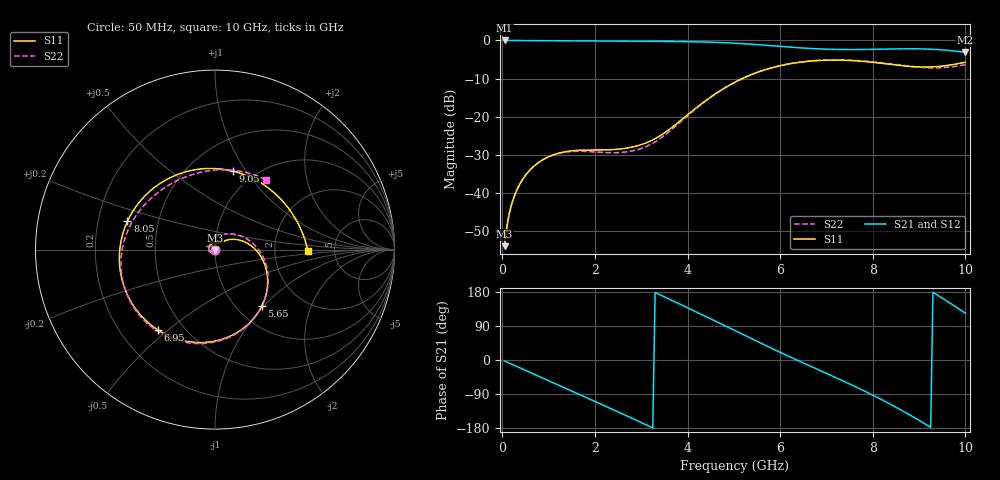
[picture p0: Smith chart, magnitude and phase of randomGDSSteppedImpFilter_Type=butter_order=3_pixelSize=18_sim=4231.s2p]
! freq	dB(S11)	phase(S11)	dB(S12)	phase(S12)
!  dB(S21)	phase(S21)	dB(S22)	phase(S22)
!S-par simulation data
#  GHz  S  DB  R 50
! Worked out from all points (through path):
!   200 points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, 50 MHz to 10 GHz, reference 50 ohm
!   highest |S21| = 0.00 dB at 50 MHz (marker M1); lowest = -3.1 dB at 10 GHz (marker M2)
!   group delay of S21, straight-line fit = 162 ps
!   lowest |S11| = -53.9 dB at 50 MHz (marker M3), VSWR 1.00, Z = 50 - j0.2 ohm
!   |S11| at or under -10 dB: start of sweep to 5.179 GHz
!   |S22| runs from -53.8 to -5.1 dB; largest |S21 - S12| = 0
!   S11 on the Smith chart (normalised r, x): 50 MHz: 1.00, -0.00; 5.65 GHz: 1.29, -0.98; 6.95 GHz: 0.36, -0.46; 8.05 GHz: 0.33, +0.14; 9.05 GHz: 0.80, +0.87; 10 GHz: 3.15, -0.08
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0.05  -53.90 -81.0  -0.00 -2.8  -0.00 -2.8  -53.78 -83.2
0.1  -48.68 -88.7  -0.01 -5.5  -0.01 -5.5  -48.53 -87.0
0.2  -42.98 -99.5  -0.02 -11.0  -0.02 -11.0  -42.98 -95.3
0.55  -34.58 -126.2  -0.05 -30.0  -0.05 -30.0  -34.56 -114.3
1.2  -29.59 -172.3  -0.08 -65.5  -0.08 -65.5  -29.66 -142.3
1.75  -28.73 145.3  -0.12 -95.6  -0.12 -95.6  -29.05 -162.3
2.2  -28.69 108.6  -0.15 -120.4  -0.15 -120.4  -29.36 -176.2
2.65  -28.27 76.0  -0.18 -145.4  -0.18 -145.4  -29.24 166.1
3.4  -25.03 47.9  -0.25 172.4  -0.25 172.4  -25.78 108.8
3.85  -20.98 37.3  -0.30 146.6  -0.30 146.6  -21.33 69.2
4.3  -16.60 20.8  -0.40 120.3  -0.40 120.3  -16.74 35.2
5.05  -10.76 -16.8  -0.74 75.7  -0.74 75.7  -10.80 -14.0
5.65  -7.77 -50.5  -1.22 40.4  -1.22 40.4  -7.77 -50.1
6.15  -6.24 -79.1  -1.69 11.7  -1.69 11.7  -6.22 -78.3
6.7  -5.37 -110.8  -2.13 -18.8  -2.13 -18.8  -5.32 -107.6
6.95  -5.20 -125.6  -2.27 -32.6  -2.27 -32.6  -5.13 -120.5
7.55  -5.29 -162.9  -2.40 -66.2  -2.40 -66.2  -5.16 -151.1
8.05  -5.80 162.0  -2.32 -95.8  -2.32 -95.8  -5.64 -176.7
8.35  -6.23 138.5  -2.24 -114.7  -2.24 -114.7  -6.08 167.5
9.05  -6.96 77.2  -2.21 -162.8  -2.21 -162.8  -7.07 127.7
9.5  -6.71 37.7  -2.47 163.3  -2.47 163.3  -7.14 96.5
10  -5.71 -1.1  -3.14 123.5  -3.14 123.5  -6.33 53.6
